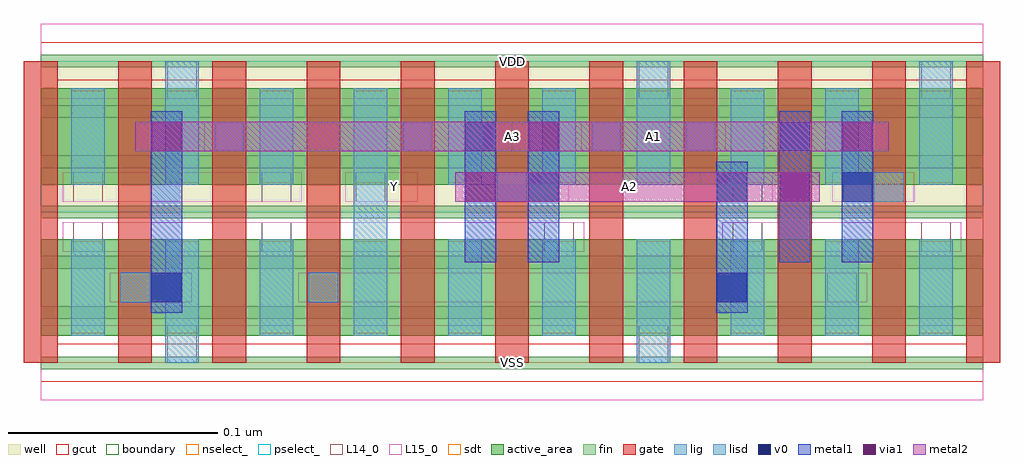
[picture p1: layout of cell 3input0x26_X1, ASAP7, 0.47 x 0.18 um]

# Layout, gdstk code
import gdstk
lib = gdstk.Library(unit=1e-6, precision=2.5e-10)
def R(c, l, rs):  # rectangles x0, y0, x1, y1
    for r in rs: c.add(gdstk.rectangle(r[:2], r[2:], *l))
def A(c, l, x, y, w, h, nx, ny, dx, dy):  # array of equal rectangles
    R(c, l, [(x+i*dx, y+j*dy, x+i*dx+w, y+j*dy+h) for i in range(nx) for j in range(ny)])
def P(c, l, *ps):  # polygons
    for p in ps: c.add(gdstk.Polygon(p, *l))
well = (1, 0)
fin = (2, 0)
gate = (7, 0)
gcut = (10, 0)
active_area = (11, 0)
nselect_ = (12, 0)
pselect_ = (13, 0)
L14_0 = (14, 0)
L15_0 = (15, 0)
lig = (16, 0)
lisd = (17, 0)
v0 = (18, 0)
metal1 = (19, 0)
metal2 = (20, 0)
via1 = (21, 0)
sdt = (88, 0)
boundary = (100, 0)

c_3input0x26_x1 = lib.new_cell('3input0x26_X1')
R(c_3input0x26_x1, well, [(0,0.072,0.45,0.144)])
A(c_3input0x26_x1, fin, 0, -0.003, 0.45, 0.006, 1, 7, 0, 0.024)
A(c_3input0x26_x1, gate, -0.008, 0, 0.016, 0.144, 11, 1, 0.045, 0)
P(c_3input0x26_x1, gcut, [(0,-0.009),(0,0),(-0.008,0),(-0.008,0.135),(0.008,0.135),(0.008,0.009),(0.442,0.009),(0.442,0.135),(-0.008,0.135),(-0.008,0.144),(0,0.144),(0,0.153),(0.45,0.153),(0.45,0.144),(0.458,0.144),(0.458,0),(0.45,0),(0.45,-0.009)])
R(c_3input0x26_x1, active_area, [(0,0.013,0.45,0.059), (0,0.085,0.45,0.131)])
R(c_3input0x26_x1, nselect_, [(0,0,0.45,0.072)])
R(c_3input0x26_x1, pselect_, [(0,0.072,0.45,0.144)])
A(c_3input0x26_x1, L14_0, 0.2405, 0.053, 0.014, 0.014, 3, 1, 0.09, 0)
A(c_3input0x26_x1, L14_0, 0.083, 0.101, 0.014, 0.014, 3, 1, 0.09, 0)
R(c_3input0x26_x1, L14_0, [(0.0605,0,0.0745,0.018), (0.2855,0,0.2995,0.018), (0.038,0.029,0.052,0.043), (0.128,0.029,0.142,0.043), (0.3755,0.029,0.3895,0.043), (0.0155,0.053,0.0295,0.067), (0.1055,0.053,0.1195,0.067), (0.0155,0.077,0.0295,0.091), (0.1055,0.077,0.1195,0.091), (0.1505,0.077,0.1645,0.091), (0.218,0.077,0.232,0.091), (0.3305,0.077,0.3445,0.091), (0.398,0.077,0.412,0.091), (0.308,0.101,0.322,0.115), (0.353,0.101,0.367,0.115), (0.0605,0.126,0.0745,0.144), (0.2855,0.126,0.2995,0.144), (0.4205,0.126,0.4345,0.144)])
R(c_3input0x26_x1, L15_0, [(0,-0.018,0.45,0.018), (0.033,0.029,0.072,0.043), (0.123,0.029,0.3945,0.043), (0.0105,0.053,0.2595,0.067), (0.3255,0.053,0.4395,0.067), (0.0105,0.077,0.1245,0.091), (0.1455,0.077,0.18,0.091), (0.213,0.077,0.252,0.091), (0.315,0.077,0.3495,0.091), (0.378,0.077,0.417,0.091), (0.078,0.101,0.225,0.115), (0.258,0.101,0.327,0.115), (0.348,0.101,0.3825,0.115), (0,0.126,0.45,0.162)])
A(c_3input0x26_x1, lig, 0.083, 0.101, 0.014, 0.014, 3, 1, 0.09, 0)
R(c_3input0x26_x1, lig, [(0.038,0.029,0.052,0.043), (0.128,0.029,0.142,0.043), (0.218,0.077,0.232,0.091), (0.398,0.077,0.412,0.091), (0.308,0.101,0.322,0.115), (0.353,0.101,0.367,0.115)])
A(c_3input0x26_x1, lisd, 0.0145, 0.013, 0.016, 0.046, 3, 2, 0.09, 0.072)
A(c_3input0x26_x1, lisd, 0.3295, 0.013, 0.016, 0.046, 3, 1, 0.045, 0)
R(c_3input0x26_x1, lisd, [(0.0595,0,0.0755,0.059), (0.2845,0,0.3005,0.059), (0.1495,0.013,0.1655,0.131), (0.2395,0.013,0.2555,0.059), (0.0595,0.085,0.0755,0.144), (0.2395,0.085,0.2555,0.131), (0.2845,0.085,0.3005,0.144), (0.3295,0.085,0.3455,0.131), (0.3745,0.085,0.3905,0.131), (0.4195,0.085,0.4355,0.144)])
R(c_3input0x26_x1, v0, [(0.053,0.029,0.067,0.043), (0.323,0.029,0.337,0.043), (0.233,0.077,0.247,0.091), (0.323,0.077,0.337,0.091), (0.383,0.077,0.397,0.091), (0.203,0.101,0.217,0.115), (0.353,0.101,0.367,0.115)])
R(c_3input0x26_x1, metal1, [(0.0525,0.024,0.0675,0.12), (0.3225,0.024,0.3375,0.096), (0.2025,0.048,0.2175,0.12), (0.2325,0.048,0.2475,0.12), (0.3525,0.048,0.3675,0.12), (0.3825,0.048,0.3975,0.12)])
R(c_3input0x26_x1, metal2, [(0.198,0.077,0.372,0.091), (0.045,0.101,0.405,0.115)])
R(c_3input0x26_x1, via1, [(0.203,0.077,0.217,0.091), (0.353,0.077,0.367,0.091), (0.053,0.101,0.067,0.115), (0.233,0.101,0.247,0.115), (0.383,0.101,0.397,0.115)])
A(c_3input0x26_x1, sdt, 0.0145, 0.014, 0.016, 0.044, 10, 2, 0.045, 0.072)
R(c_3input0x26_x1, boundary, [(0,0,0.45,0.144)])
c_3input0x26_x1.add(gdstk.Label('VSS', (0.225,0), layer=15, texttype=251))
c_3input0x26_x1.add(gdstk.Label('VDD', (0.225,0.144), layer=15, texttype=251))
c_3input0x26_x1.add(gdstk.Label('Y', (0.1688,0.084), layer=15, texttype=251))
c_3input0x26_x1.add(gdstk.Label('VSS', (0.225,0), layer=15, texttype=251))
c_3input0x26_x1.add(gdstk.Label('VDD', (0.225,0.144), layer=15, texttype=251))
c_3input0x26_x1.add(gdstk.Label('VSS', (0.225,0), layer=15, texttype=251))
c_3input0x26_x1.add(gdstk.Label('VDD', (0.225,0.144), layer=15, texttype=251))
c_3input0x26_x1.add(gdstk.Label('A1', (0.2925,0.108), layer=15, texttype=251))
c_3input0x26_x1.add(gdstk.Label('VSS', (0.225,0), layer=15, texttype=251))
c_3input0x26_x1.add(gdstk.Label('VDD', (0.225,0.144), layer=15, texttype=251))
c_3input0x26_x1.add(gdstk.Label('VSS', (0.225,0), layer=3, texttype=251))
c_3input0x26_x1.add(gdstk.Label('VSS', (0.225,0), layer=3, texttype=251))
c_3input0x26_x1.add(gdstk.Label('VSS', (0.225,0), layer=3, texttype=251))
c_3input0x26_x1.add(gdstk.Label('VSS', (0.225,0), layer=3, texttype=251))
c_3input0x26_x1.add(gdstk.Label('VDD', (0.225,0.144), layer=1, texttype=251))
c_3input0x26_x1.add(gdstk.Label('VDD', (0.225,0.144), layer=1, texttype=251))
c_3input0x26_x1.add(gdstk.Label('VDD', (0.225,0.144), layer=1, texttype=251))
c_3input0x26_x1.add(gdstk.Label('VDD', (0.225,0.144), layer=1, texttype=251))
c_3input0x26_x1.add(gdstk.Label('A3', (0.225,0.108), layer=20, texttype=251))
c_3input0x26_x1.add(gdstk.Label('A2', (0.2813,0.084), layer=20, texttype=251))

lib.write_gds('3input0x26_X1.gds')
